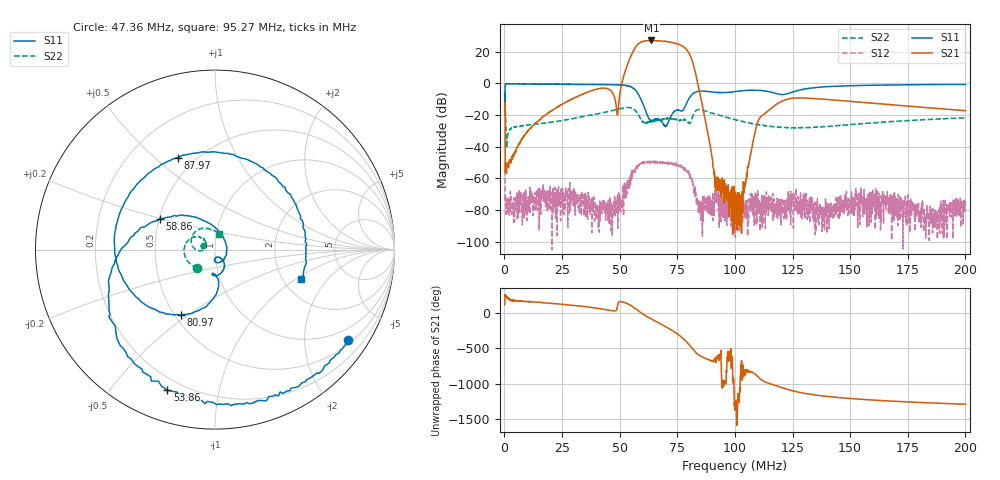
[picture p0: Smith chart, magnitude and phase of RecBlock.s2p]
! 23-Mar-26 11:38:24 AM
! E:\UPDATEDVNAMEASUREMENTS\REC\RECBLOCK.S2P
! CHANNEL.1
! TR.MEASUREMENT
! CORRECTED.DATA
# GHZ S RI R 50.0
! FREQ.GHZ  S11RE  S11IM  S21RE  S21IM  S12RE  S12IM  S22RE  S22IM
!; PortSelection: Port_12
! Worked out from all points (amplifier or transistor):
!   2000 points, 50 kHz to 200 MHz, reference 50 ohm
!   highest |S21| = 27.1 dB at 63.77 MHz (marker M1)
!   |S21| within 3 dB of that: 57.53 MHz to 76.49 MHz (18.96 MHz wide, 28.3 % of centre)
!   unconditionally stable (mu >= 1): start of sweep to end of sweep
!   at 33.36 MHz: K = 2876.64, MAG = 0.6 dB, |S12| = -83.6 dB
!   at 100.1 MHz: K = 76084328.76, MAG = -83.7 dB, |S12| = -77.9 dB
!   at 200 MHz: K = 3051.07, MAG = -9.2 dB, |S12| = -74.6 dB
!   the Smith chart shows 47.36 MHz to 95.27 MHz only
!   S11 on the Smith chart (normalised r, x): 47.36 MHz: 0.62, -3.15; 53.86 MHz: 0.14, -0.71; 58.86 MHz: 0.50, +0.20; 80.97 MHz: 0.54, -0.47; 87.97 MHz: 0.40, +0.60; 95.27 MHz: 2.52, -1.09
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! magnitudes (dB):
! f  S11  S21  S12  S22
! 50 kHz  -6.2  -16.2  -49.5  -6.3
! 1.35 MHz  -0.3  -50.6  -72.2  -33.3
! 13.05 MHz  -0.4  -25.9  -76.3  -25.9
! 33.46 MHz  -0.8  -7.1  -74.8  -21.2
! 47.36 MHz  -1.0  -7.4  -77.7  -17.0
! 49.26 MHz  -1.0  -17.5  -73.8  -16.3
! 53.86 MHz  -1.6  13.8  -60.6  -15.3
! 58.86 MHz  -9.1  25.8  -51.1  -21.9
! 63.77 MHz  -23.6  27.1  -49.5  -23.8
! 66.77 MHz  -22.4  26.9  -49.5  -23.0
! 70.17 MHz  -27.0  26.4  -50.6  -22.1
! 80.97 MHz  -7.7  16.3  -59.9  -23.8
! 84.27 MHz  -5.0  -2.7  -75.3  -16.5
! 87.97 MHz  -5.2  -29.2  -79.0  -17.9
! 91.47 MHz  -5.6  -66.1  -76.2  -19.4
! 95.27 MHz  -5.9  -76.2  -70.9  -21.0
! 100.1 MHz  -5.2  -88.9  -77.9  -23.0
! 103 MHz  -4.7  -68.6  -80.3  -24.0
! 111 MHz  -4.5  -21.5  -85.8  -26.3
! 133.4 MHz  -2.9  -9.6  -71.3  -27.9
! 166.7 MHz  -1.0  -13.4  -76.9  -24.3
! 200 MHz  -0.7  -17.3  -74.6  -21.8
